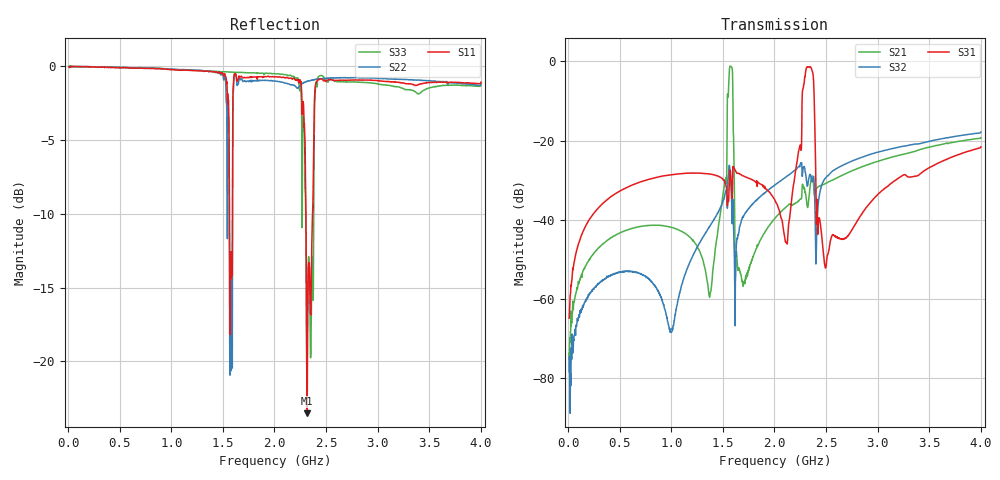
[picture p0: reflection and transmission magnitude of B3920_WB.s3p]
! Matrix data file written by TouchstoneData, EPCOS AG
! FILENAME: "newformat_LZ36B_4a_WB.s3p"
! COMMENT: "(LZ36B_4a_WB.s3p) Epcos AG 01.02.2012 13:38:"
! INFO: nport=3, nfreq=1601
! DATE: "Fri Feb  3 14:31:23 2012"
! USER: "Sergey Rostovtsev"
! port | pin | signal
!  1  |  2  |  in
!  2  |  4  |  out
!  3  |  6  |  out
# MHZ S MA R 50
! freq  magS11 angS11  magS12 angS12  magS13 angS13  ...
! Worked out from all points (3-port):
!   1601 points, 10 MHz to 4 GHz, reference 50 ohm
!   strongest paths, dB at 10 MHz, 1.008 GHz, 2.005 GHz, 3.002 GHz, 4 GHz:
!     S31: -64.8, -28.6, -35.1, -33.6, -21.6
!     S32: -78.4, -68.2, -31.2, -23.0, -17.9
!     S21: -73.7, -41.9, -39.6, -25.3, -19.3
!   lowest |S11| = -23.5 dB at 2.317 GHz (marker M1), VSWR 1.14, Z = 44.3 - j2.55 ohm
!   |S11| at or under -10 dB: 1.564 GHz to 1.593 GHz (29.35 MHz wide, 1.86 % of centre); 2.304 GHz to 2.369 GHz (64.76 MHz wide, 2.77 % of centre)
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10  0.9961 -1.2  0.000204 99.4  0.0005392 89.7
    0.0002068 73.4  0.996 -0.8  0.0002012 58.5
    0.0005732 92.4  0.0001206 69.5  1.002 -0.6
536.1812  0.9896 -38.8  0.007181 58.8  0.02433 58.0
          0.007151 58.9  0.9906 -24.4  0.00223 68.6
          0.02433 58.2  0.00224 68.6  0.9925 -24.5
1376.575  0.9623 -95.7  0.001194 104.2  0.03766 10.9
          0.001178 103.9  0.9623 -70.7  0.008384 -162.1
          0.03773 10.8  0.008435 -162.3  0.9632 -64.1
1576.075  0.2328 -105.9  0.8681 -28.2  0.03615 6.7
          0.8625 -28.1  0.1916 -120.6  0.02891 70.4
          0.03625 6.9  0.02922 70.3  0.9551 -74.9
1638.419  0.889 -89.6  0.002837 -178.6  0.03866 9.2
          0.002814 -177.8  0.8612 -47.2  0.005844 -176.9
          0.03874 9.3  0.005894 -177.1  0.9546 -78.3
2005  0.922 -124.8  0.01057 146.8  0.0176 -12.4
      0.01048 147.0  0.892 -84.8  0.02743 170.1
      0.0176 -12.4  0.02763 170.0  0.9437 -102.5
2122.206  0.9164 -135.1  0.01498 138.0  0.004951 70.4
          0.01491 138.2  0.8756 -90.8  0.03524 160.9
          0.004933 70.4  0.03552 160.7  0.9344 -114.9
2316.719  0.06671 -154.5  0.01491 -28.6  0.8463 -2.3
          0.01483 -28.3  0.8888 -96.9  0.02629 117.7
          0.8484 -2.2  0.0265 117.4  0.09363 -137.8
2493.775  0.8932 -124.6  0.02872 145.2  0.002463 63.4
          0.02857 145.3  0.9104 -106.2  0.03324 166.7
          0.00246 63.1  0.03353 166.6  0.8963 -86.3
4000  0.8832 165.2  0.1085 79.9  0.08198 76.4
      0.1085 79.9  0.872 -174.8  0.1258 94.0
      0.08307 76.9  0.128 94.5  0.875 -166.5
